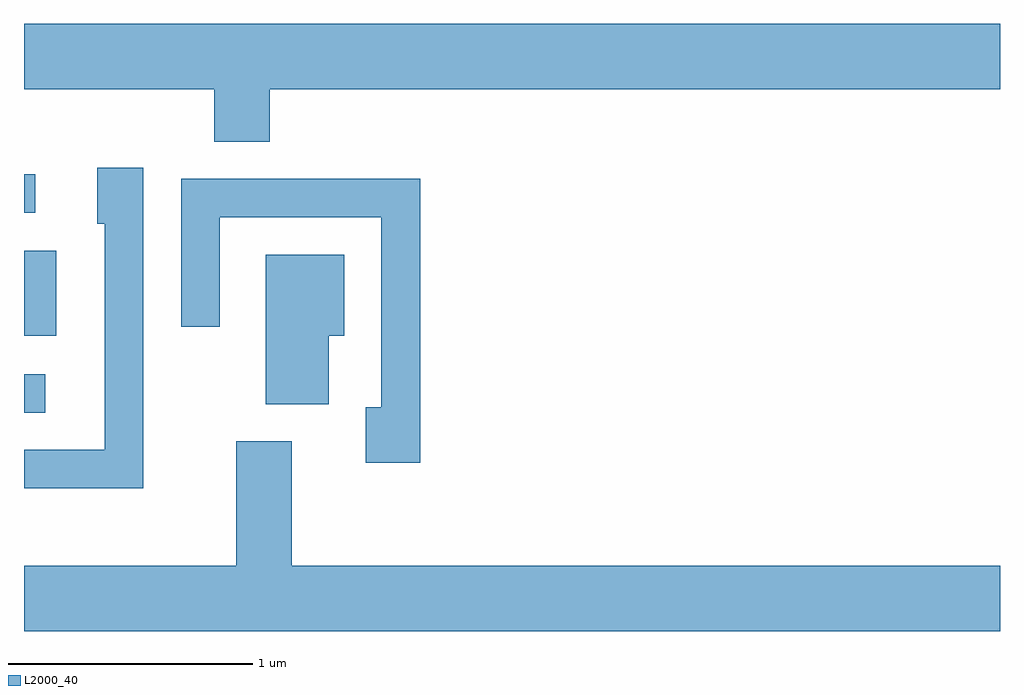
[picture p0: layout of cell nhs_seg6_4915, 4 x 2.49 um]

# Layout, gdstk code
import gdstk
lib = gdstk.Library(unit=1e-6, precision=1e-09)
def R(c, l, rs):  # rectangles x0, y0, x1, y1
    for r in rs: c.add(gdstk.rectangle(r[:2], r[2:], *l))
def P(c, l, *ps):  # polygons
    for p in ps: c.add(gdstk.Polygon(p, *l))
L2000_40 = (2000, 40)

nhs_seg6_4915 = lib.new_cell('nhs_seg6_4915')
R(nhs_seg6_4915, L2000_40, [(335.611,1559.811,335.698,1559.969), (335.611,1560.126,335.744,1560.474), (335.611,1560.631,335.658,1560.789)])
P(nhs_seg6_4915, L2000_40, [(336.619,1561.136),(339.611,1561.136),(339.611,1561.404),(335.611,1561.404),(335.611,1561.136),(336.391,1561.136),(336.391,1560.921),(336.619,1560.921)],
  [(336.099,1560.814),(335.911,1560.814),(335.911,1560.586),(335.941,1560.586),(335.941,1559.659),(335.611,1559.659),(335.611,1559.501),(336.099,1559.501)],
  [(337.234,1560.769),(336.256,1560.769),(336.256,1560.163),(336.414,1560.163),(336.414,1560.611),(337.076,1560.611),(337.076,1559.834),(337.011,1559.834),(337.011,1559.606),(337.234,1559.606)],
  [(336.859,1560.126),(336.924,1560.126),(336.924,1560.459),(336.601,1560.459),(336.601,1559.846),(336.859,1559.846)],
  [(339.611,1559.184),(336.709,1559.184),(336.709,1559.694),(336.481,1559.694),(336.481,1559.184),(335.611,1559.184),(335.611,1558.916),(339.611,1558.916)])

lib.write_gds('nhs_seg6_4915.gds')
